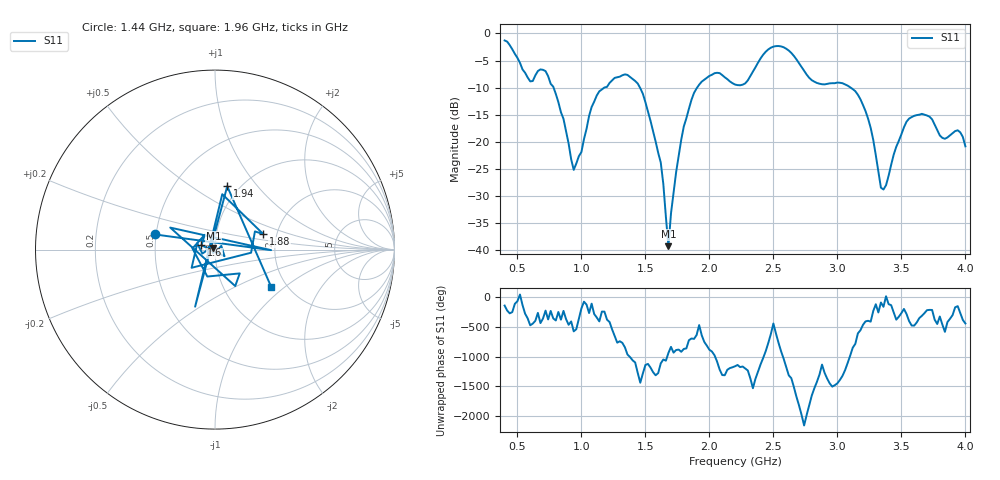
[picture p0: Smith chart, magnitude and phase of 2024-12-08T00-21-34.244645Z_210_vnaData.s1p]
!Created with skrf (http://scikit-rf.org).
# Hz S RI R 50.0
!freq ReS11 ImS11
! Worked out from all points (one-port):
!   181 points, 400 MHz to 4 GHz, reference 50 ohm
!   lowest |S11| = -39.3 dB at 1.68 GHz (marker M1), VSWR 1.02, Z = 49.1 + j0.661 ohm
!   |S11| at or under -10 dB: 782.7 MHz to 1.178 GHz (395.5 MHz wide, 40.3 % of centre); 1.458 GHz to 1.904 GHz (446.2 MHz wide, 26.5 % of centre); 3.104 GHz to end of sweep
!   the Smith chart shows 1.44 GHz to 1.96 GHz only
!   S11 on the Smith chart (normalised r, x): 1.44 GHz: 0.49, +0.09; 1.6 GHz: 0.86, +0.04; 1.88 GHz: 1.70, +0.32; 1.94 GHz: 0.88, +0.71; 1.96 GHz: 1.67, -0.80
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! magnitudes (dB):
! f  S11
! 400 MHz  -1.3
! 600 MHz  -8.8
! 720 MHz  -7.0
! 860 MHz  -15.8
! 940 MHz  -25.2
! 1.12 GHz  -11.4
! 1.3 GHz  -8.0
! 1.44 GHz  -9.2
! 1.6 GHz  -22.0
! 1.64 GHz  -27.8
! 1.68 GHz  -39.3
! 1.7 GHz  -33.2
! 1.76 GHz  -22.6
! 1.88 GHz  -11.0
! 1.94 GHz  -8.9
! 1.96 GHz  -8.5
! 2.2 GHz  -9.4
! 2.48 GHz  -2.6
! 2.66 GHz  -4.1
! 2.82 GHz  -8.9
! 3.1 GHz  -9.9
! 3.24 GHz  -15.7
! 3.36 GHz  -28.8
! 3.56 GHz  -15.7
! 3.72 GHz  -15.4
! 3.84 GHz  -19.4
! 3.94 GHz  -17.9
! 4 GHz  -20.8
